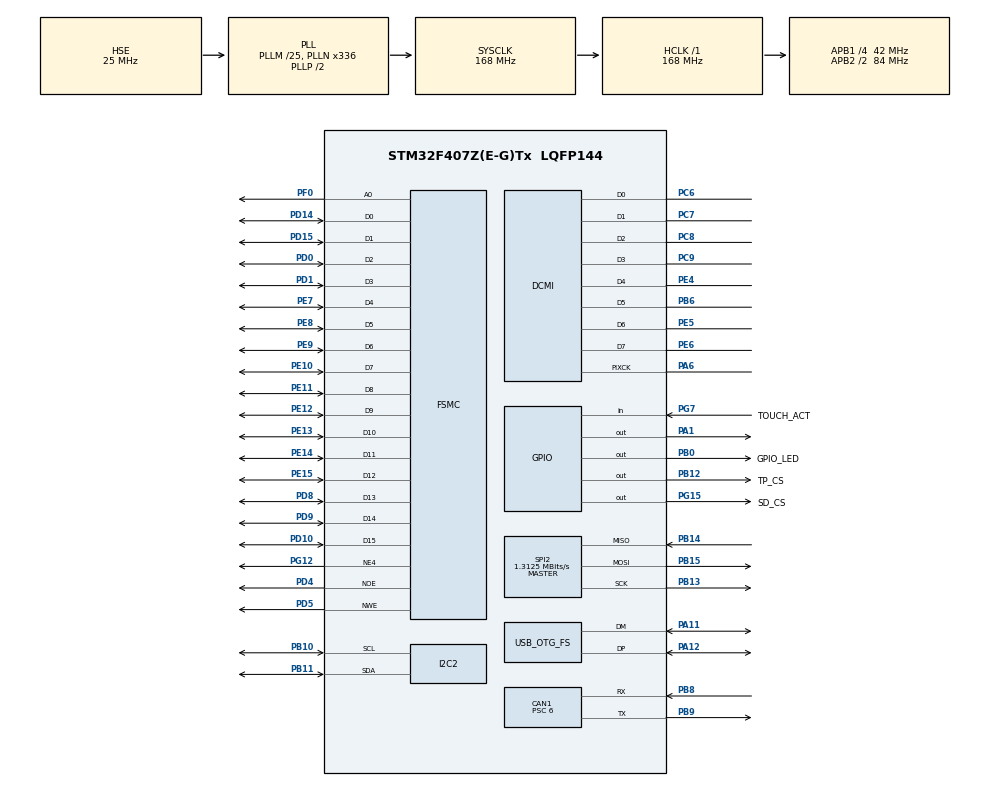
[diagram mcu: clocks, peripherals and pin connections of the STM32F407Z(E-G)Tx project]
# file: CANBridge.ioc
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CAN1.BS1=CAN_BS1_11TQ
CAN1.BS2=CAN_BS2_2TQ
CAN1.CalculateTimeBit=2000
CAN1.CalculateTimeQuantum=142.85714285714286
CAN1.Prescaler=6
DCMI.JPEGMode=DCMI_JPEG_DISABLE
DCMI.PCKPolarity=DCMI_PCKPOLARITY_RISING
Dma.DCMI.0.Direction=DMA_PERIPH_TO_MEMORY
Dma.DCMI.0.FIFOMode=DMA_FIFOMODE_ENABLE
Dma.DCMI.0.FIFOThreshold=DMA_FIFO_THRESHOLD_FULL
Dma.DCMI.0.Instance=DMA2_Stream1
Dma.DCMI.0.MemBurst=DMA_MBURST_SINGLE
Dma.DCMI.0.MemDataAlignment=DMA_MDATAALIGN_WORD
Dma.DCMI.0.MemInc=DMA_MINC_ENABLE
Dma.DCMI.0.Mode=DMA_NORMAL
Dma.DCMI.0.PeriphBurst=DMA_PBURST_SINGLE
Dma.DCMI.0.PeriphDataAlignment=DMA_PDATAALIGN_WORD
Dma.DCMI.0.PeriphInc=DMA_PINC_DISABLE
Dma.DCMI.0.Priority=DMA_PRIORITY_LOW
Dma.Request0=DCMI
FREERTOS.INCLUDE_vTaskDelayUntil=1
FREERTOS.Tasks01=defaultTask,0,128,StartDefaultTask,Default
FREERTOS.configUSE_COUNTING_SEMAPHORES=1
FREERTOS.configUSE_PORT_OPTIMISED_TASK_SELECTION=0
FREERTOS.configUSE_TRACE_FACILITY=0
FSMC.AddressSetupTime1=0
FSMC.BusTurnAroundDuration1=0
FSMC.DataSetupTime1=7
Mcu.Family=STM32F4
Mcu.Name=STM32F407Z(E-G)Tx
Mcu.Package=LQFP144
NVIC.CAN1_RX0_IRQn=true\:5\:0\:false\:false\:true\:true\:true\:true
NVIC.CAN1_TX_IRQn=true\:5\:0\:false\:false\:true\:true\:true\:true
NVIC.DMA2_Stream1_IRQn=true\:5\:0\:false\:false\:true\:true\:false\:true
NVIC.OTG_FS_IRQn=true\:0\:0\:false\:false\:true\:false\:true\:true
NVIC.PriorityGroup=NVIC_PRIORITYGROUP_4
NVIC.TIM1_UP_TIM10_IRQn=true\:0\:0\:false\:false\:true\:false\:true\:true
NVIC.TimeBase=TIM1_UP_TIM10_IRQn
NVIC.TimeBaseIP=TIM10
PA1.Signal=GPIO_Output
PA11.Mode=Device_Only
PA11.Signal=USB_OTG_FS_DM
PA12.Mode=Device_Only
PA12.Signal=USB_OTG_FS_DP
PA13.Mode=Serial_Wire
PA13.Signal=SYS_JTMS-SWDIO
PA14.Mode=Serial_Wire
PA14.Signal=SYS_JTCK-SWCLK
PA6.Mode=Slave_8_bits_Embedded_Synchro
PA6.Signal=DCMI_PIXCK
PB0.GPIO_Label=GPIO_LED
PB0.Signal=GPIO_Output
PB10.Mode=I2C
PB10.Signal=I2C2_SCL
PB11.Mode=I2C
PB11.Signal=I2C2_SDA
PB12.GPIO_Label=TP_CS
PB12.Signal=GPIO_Output
PB13.Mode=Full_Duplex_Master
PB13.Signal=SPI2_SCK
PB14.Mode=Full_Duplex_Master
PB14.Signal=SPI2_MISO
PB15.Mode=Full_Duplex_Master
PB15.Signal=SPI2_MOSI
PB6.Mode=Slave_8_bits_Embedded_Synchro
PB6.Signal=DCMI_D5
PB8.Mode=Master
PB8.Signal=CAN1_RX
PB9.Mode=Master
PB9.Signal=CAN1_TX
PC6.Mode=Slave_8_bits_Embedded_Synchro
PC6.Signal=DCMI_D0
PC7.Mode=Slave_8_bits_Embedded_Synchro
PC7.Signal=DCMI_D1
PC8.Mode=Slave_8_bits_Embedded_Synchro
PC8.Signal=DCMI_D2
PC9.Mode=Slave_8_bits_Embedded_Synchro
PC9.Signal=DCMI_D3
PD0.GPIO_Mode=GPIO_MODE_AF_PP
PD0.GPIO_PuPd=GPIO_NOPULL
PD0.GPIO_Speed_High_Default=GPIO_SPEED_FREQ_VERY_HIGH
PD0.Signal=FSMC_D2_DA2
PD1.Signal=FSMC_D3_DA3
PD10.Signal=FSMC_D15_DA15
PD14.Signal=FSMC_D0_DA0
PD15.Signal=FSMC_D1_DA1
PD4.Signal=FSMC_NOE
PD5.Signal=FSMC_NWE
PD8.Signal=FSMC_D13_DA13
PD9.Signal=FSMC_D14_DA14
PE10.Signal=FSMC_D7_DA7
PE11.Signal=FSMC_D8_DA8
PE12.Signal=FSMC_D9_DA9
PE13.Signal=FSMC_D10_DA10
PE14.Signal=FSMC_D11_DA11
PE15.Signal=FSMC_D12_DA12
PE4.Mode=Slave_8_bits_Embedded_Synchro
PE4.Signal=DCMI_D4
PE5.Mode=Slave_8_bits_Embedded_Synchro
PE5.Signal=DCMI_D6
PE6.Mode=Slave_8_bits_Embedded_Synchro
PE6.Signal=DCMI_D7
PE7.Signal=FSMC_D4_DA4
PE8.Signal=FSMC_D5_DA5
PE9.Signal=FSMC_D6_DA6
PF0.Signal=FSMC_A0
PG12.Mode=NorPsramChipSelect4_1
PG12.Signal=FSMC_NE4
PG15.GPIO_Label=SD_CS
PG15.Signal=GPIO_Output
PG7.GPIO_Label=TOUCH_ACT
PG7.GPIO_PuPd=GPIO_PULLUP
PG7.Signal=GPIO_Input
PH0-OSC_IN.Mode=HSE-External-Oscillator
PH0-OSC_IN.Signal=RCC_OSC_IN
PH1-OSC_OUT.Mode=HSE-External-Oscillator
PH1-OSC_OUT.Signal=RCC_OSC_OUT
ProjectManager.HeapSize=0x200
ProjectManager.StackSize=0x400
ProjectManager.TargetToolchain=SW4STM32
RCC.48MHZClocksFreq_Value=48000000
RCC.AHBFreq_Value=168000000
RCC.APB1CLKDivider=RCC_HCLK_DIV4
RCC.APB1Freq_Value=42000000
RCC.APB1TimFreq_Value=84000000
RCC.APB2CLKDivider=RCC_HCLK_DIV2
RCC.APB2Freq_Value=84000000
RCC.APB2TimFreq_Value=168000000
RCC.CortexFreq_Value=168000000
RCC.HCLKFreq_Value=168000000
RCC.HSE_VALUE=25000000
RCC.HSI_VALUE=16000000
RCC.LSE_VALUE=32768
RCC.PLLM=25
RCC.PLLN=336
RCC.PLLQ=7
RCC.SYSCLKFreq_VALUE=168000000
RCC.SYSCLKSource=RCC_SYSCLKSOURCE_PLLCLK
RCC.VCOOutputFreq_Value=336000000
SH.FSMC_A0.0=FSMC_A0,A0_1
SH.FSMC_D0_DA0.0=FSMC_D0,16b-d1
SH.FSMC_D10_DA10.0=FSMC_D10,16b-d1
SH.FSMC_D11_DA11.0=FSMC_D11,16b-d1
SH.FSMC_D12_DA12.0=FSMC_D12,16b-d1
SH.FSMC_D13_DA13.0=FSMC_D13,16b-d1
SH.FSMC_D14_DA14.0=FSMC_D14,16b-d1
SH.FSMC_D15_DA15.0=FSMC_D15,16b-d1
SH.FSMC_D1_DA1.0=FSMC_D1,16b-d1
SH.FSMC_D2_DA2.0=FSMC_D2,16b-d1
SH.FSMC_D3_DA3.0=FSMC_D3,16b-d1
SH.FSMC_D4_DA4.0=FSMC_D4,16b-d1
SH.FSMC_D5_DA5.0=FSMC_D5,16b-d1
SH.FSMC_D6_DA6.0=FSMC_D6,16b-d1
SH.FSMC_D7_DA7.0=FSMC_D7,16b-d1
SH.FSMC_D8_DA8.0=FSMC_D8,16b-d1
SH.FSMC_D9_DA9.0=FSMC_D9,16b-d1
SH.FSMC_NOE.0=FSMC_NOE,Lcd1
SH.FSMC_NWE.0=FSMC_NWE,Lcd1
SPI2.BaudRatePrescaler=SPI_BAUDRATEPRESCALER_32
SPI2.CalculateBaudRate=1.3125 MBits/s
SPI2.Direction=SPI_DIRECTION_2LINES
SPI2.Mode=SPI_MODE_MASTER
SPI2.VirtualType=VM_MASTER
USB_DEVICE.CLASS_NAME-CDC_FS=CDC
USB_DEVICE.CLASS_NAME_FS=CDC
USB_DEVICE.USBD_HandleTypeDef-CDC_FS=hUsbDeviceFS
USB_DEVICE.VirtualMode-CDC_FS=Cdc
USB_DEVICE.VirtualModeFS=Cdc_FS
USB_OTG_FS.VirtualMode=Device_Only
VP_FREERTOS_VS_CMSIS_V1.Mode=CMSIS_V1
VP_SYS_VS_tim10.Mode=TIM10
VP_USB_DEVICE_VS_USB_DEVICE_CDC_FS.Mode=CDC_FS
board=CANBridge

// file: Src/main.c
/* USER CODE BEGIN Header */
/**
  ******************************************************************************
  * @file           : main.c
  * @brief          : Main program body
  ******************************************************************************
  * @attention
  *
  * <h2><center>&copy; Copyright (c) 2019 STMicroelectronics.
  * All rights reserved.</center></h2>
  *
  * This software component is licensed by ST under Ultimate Liberty license
  * SLA0044, the "License"; You may not use this file except in compliance with
  * the License. You may obtain a copy of the License at:
  *                             www.st.com/SLA0044
  *
  ******************************************************************************
  */
/* USER CODE END Header */

#include "main.h"
#include "cmsis_os.h"
#include "can.h"
#include "dcmi.h"
#include "dma.h"
#include "i2c.h"
#include "spi.h"
#include "usb_device.h"
#include "gpio.h"
#include "fsmc.h"

/* USER CODE BEGIN PV */
/* Private variables ---------------------------------------------------------*/

/* USER CODE END PV */

void SystemClock_Config(void);
void MX_FREERTOS_Init(void);
/* USER CODE BEGIN PFP */
/* Private function prototypes -----------------------------------------------*/

/* USER CODE END PFP */

int main(void)
{

  /* MCU Configuration--------------------------------------------------------*/

  /* Reset of all peripherals, Initializes the Flash interface and the Systick. */
  HAL_Init();

  /* Configure the system clock */
  SystemClock_Config();

  /* Initialize all configured peripherals */
  MX_GPIO_Init();
  MX_DMA_Init();
  MX_CAN1_Init();
  MX_FSMC_Init();
  MX_SPI2_Init();
  MX_DCMI_Init();
  MX_I2C2_Init();

  /* Call init function for freertos objects (in freertos.c) */
  MX_FREERTOS_Init();

  /* Start scheduler */
  osKernelStart();

  /* We should never get here as control is now taken by the scheduler */

  /* Infinite loop */
  while (1)
  {

  }
}

void SystemClock_Config(void)
{
  RCC_OscInitTypeDef RCC_OscInitStruct = {0};
  RCC_ClkInitTypeDef RCC_ClkInitStruct = {0};

  /** Configure the main internal regulator output voltage
  */
  __HAL_RCC_PWR_CLK_ENABLE();
  __HAL_PWR_VOLTAGESCALING_CONFIG(PWR_REGULATOR_VOLTAGE_SCALE1);
  /** Initializes the CPU, AHB and APB busses clocks
  */
  RCC_OscInitStruct.OscillatorType = RCC_OSCILLATORTYPE_HSE;
  RCC_OscInitStruct.HSEState = RCC_HSE_ON;
  RCC_OscInitStruct.PLL.PLLState = RCC_PLL_ON;
  RCC_OscInitStruct.PLL.PLLSource = RCC_PLLSOURCE_HSE;
  RCC_OscInitStruct.PLL.PLLM = 25;
  RCC_OscInitStruct.PLL.PLLN = 336;
  RCC_OscInitStruct.PLL.PLLP = RCC_PLLP_DIV2;
  RCC_OscInitStruct.PLL.PLLQ = 7;
  if (HAL_RCC_OscConfig(&RCC_OscInitStruct) != HAL_OK)
  {
    Error_Handler();
  }
  /** Initializes the CPU, AHB and APB busses clocks
  */
  RCC_ClkInitStruct.ClockType = RCC_CLOCKTYPE_HCLK|RCC_CLOCKTYPE_SYSCLK
                              |RCC_CLOCKTYPE_PCLK1|RCC_CLOCKTYPE_PCLK2;
  RCC_ClkInitStruct.SYSCLKSource = RCC_SYSCLKSOURCE_PLLCLK;
  RCC_ClkInitStruct.AHBCLKDivider = RCC_SYSCLK_DIV1;
  RCC_ClkInitStruct.APB1CLKDivider = RCC_HCLK_DIV4;
  RCC_ClkInitStruct.APB2CLKDivider = RCC_HCLK_DIV2;

  if (HAL_RCC_ClockConfig(&RCC_ClkInitStruct, FLASH_LATENCY_5) != HAL_OK)
  {
    Error_Handler();
  }
}

void HAL_TIM_PeriodElapsedCallback(TIM_HandleTypeDef *htim)
{
  if (htim->Instance == TIM10) {
    HAL_IncTick();
  }
}

void Error_Handler(void)
{
  while(1)
  {
  }
}

/************************ (C) COPYRIGHT STMicroelectronics *****END OF FILE****/

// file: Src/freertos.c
/* USER CODE BEGIN Header */
/**
  ******************************************************************************
  * File Name          : freertos.c
  * Description        : Code for freertos applications
  ******************************************************************************
  * @attention
  *
  * <h2><center>&copy; Copyright (c) 2019 STMicroelectronics.
  * All rights reserved.</center></h2>
  *
  * This software component is licensed by ST under Ultimate Liberty license
  * SLA0044, the "License"; You may not use this file except in compliance with
  * the License. You may obtain a copy of the License at:
  *                             www.st.com/SLA0044
  *
  ******************************************************************************
  */
/* USER CODE END Header */

#include "FreeRTOS.h"
#include "task.h"
#include "main.h"
#include "cmsis_os.h"

/* USER CODE BEGIN Includes */

#include "bsp/bsp_can.h"
#include "bsp/serial.h"
#include "bsp/display.h"
#include "bsp/hptimer.h"
/* USER CODE END Includes */

/* USER CODE BEGIN Variables */
extern osThreadId canTaskHandle;

extern osThreadId serialTaskHandle;

extern osThreadId displayTaskHandle;
/* USER CODE END Variables */
osThreadId defaultTaskHandle;

void StartDefaultTask(void const * argument);

extern void MX_USB_DEVICE_Init(void);
void MX_FREERTOS_Init(void); /* (MISRA C 2004 rule 8.1) */

void MX_FREERTOS_Init(void) {

  /* Create the thread(s) */
  /* definition and creation of defaultTask */
  osThreadDef(defaultTask, StartDefaultTask, osPriorityNormal, 0, 128);
  defaultTaskHandle = osThreadCreate(osThread(defaultTask), NULL);

  /* USER CODE BEGIN RTOS_THREADS */
  /* add threads, ... */
  osThreadDef(canTask, StartCANBusTask, osPriorityNormal, 0, 512);
  canTaskHandle = osThreadCreate(osThread(canTask), NULL);

  osThreadDef(displayTask, StartDisplayTask, osPriorityNormal, 0, 512);
  displayTaskHandle = osThreadCreate(osThread(displayTask), NULL);
  /* USER CODE END RTOS_THREADS */

}

void StartDefaultTask(void const * argument)
{
  /* init code for USB_DEVICE */
  MX_USB_DEVICE_Init();

  /* USER CODE BEGIN StartDefaultTask */
  osThreadDef(serialTask, StartSerialTask, osPriorityNormal, 0, 512);
  serialTaskHandle = osThreadCreate(osThread(serialTask), NULL);

  /* Infinite loop */
  for(;;)
  {
    //HAL_GPIO_TogglePin(GPIO_LED_GPIO_Port, GPIO_LED_Pin);
    GetCycleCount64();
    osDelay(1000);
  }
  /* USER CODE END StartDefaultTask */
}

/************************ (C) COPYRIGHT STMicroelectronics *****END OF FILE****/
